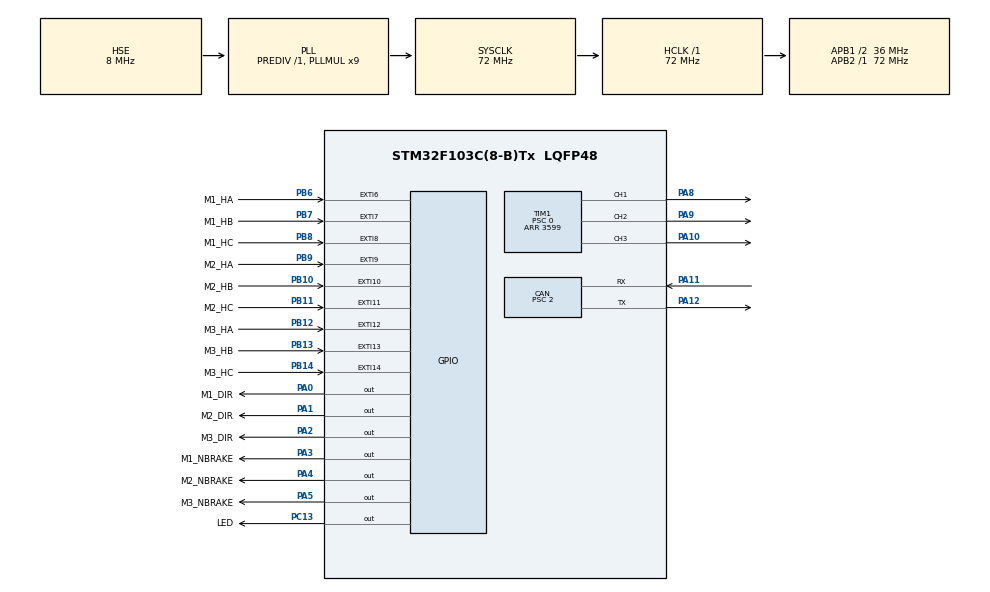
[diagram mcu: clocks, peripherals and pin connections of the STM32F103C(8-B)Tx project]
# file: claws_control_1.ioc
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CAN.ABOM=ENABLE
CAN.BS1=CAN_BS1_15TQ
CAN.BS2=CAN_BS2_2TQ
CAN.CalculateBaudRate=1000000
CAN.CalculateTimeBit=1000
CAN.CalculateTimeQuantum=55.55555555555556
CAN.NART=ENABLE
CAN.Prescaler=2
CAN.RFLM=ENABLE
CAN.TXFP=ENABLE
IWDG.Prescaler=IWDG_PRESCALER_64
IWDG.Reload=624
Mcu.Family=STM32F1
Mcu.Name=STM32F103C(8-B)Tx
Mcu.Package=LQFP48
NVIC.CAN1_SCE_IRQn=true\:1\:0\:false\:false\:true\:true\:false\:true
NVIC.EXTI15_10_IRQn=true\:2\:0\:false\:false\:true\:true\:false\:true
NVIC.EXTI9_5_IRQn=true\:2\:0\:false\:false\:true\:true\:false\:true
NVIC.PriorityGroup=NVIC_PRIORITYGROUP_4
NVIC.USB_LP_CAN1_RX0_IRQn=true\:1\:0\:false\:false\:true\:true\:false\:true
PA0-WKUP.GPIO_Label=M1_DIR
PA0-WKUP.PinState=GPIO_PIN_RESET
PA0-WKUP.Signal=GPIO_Output
PA1.GPIO_Label=M2_DIR
PA1.PinState=GPIO_PIN_RESET
PA1.Signal=GPIO_Output
PA10.GPIO_Speed=GPIO_SPEED_FREQ_HIGH
PA10.Signal=S_TIM1_CH3
PA11.Mode=CAN_Activate
PA11.Signal=CAN_RX
PA12.Mode=CAN_Activate
PA12.Signal=CAN_TX
PA13.Mode=Serial_Wire
PA13.Signal=SYS_JTMS-SWDIO
PA14.Mode=Serial_Wire
PA14.Signal=SYS_JTCK-SWCLK
PA2.GPIO_Label=M3_DIR
PA2.PinState=GPIO_PIN_RESET
PA2.Signal=GPIO_Output
PA3.GPIO_Label=M1_NBRAKE
PA3.PinState=GPIO_PIN_SET
PA3.Signal=GPIO_Output
PA4.GPIO_Label=M2_NBRAKE
PA4.PinState=GPIO_PIN_SET
PA4.Signal=GPIO_Output
PA5.GPIO_Label=M3_NBRAKE
PA5.PinState=GPIO_PIN_SET
PA5.Signal=GPIO_Output
PA8.GPIO_Speed=GPIO_SPEED_FREQ_HIGH
PA8.Signal=S_TIM1_CH1
PA9.GPIO_Speed=GPIO_SPEED_FREQ_HIGH
PA9.Signal=S_TIM1_CH2
PB10.GPIO_Label=M2_HB
PB10.GPIO_ModeDefaultEXTI=GPIO_MODE_IT_RISING_FALLING
PB10.GPIO_PuPd=GPIO_NOPULL
PB10.Signal=GPXTI10
PB11.GPIO_Label=M2_HC
PB11.GPIO_ModeDefaultEXTI=GPIO_MODE_IT_RISING_FALLING
PB11.GPIO_PuPd=GPIO_NOPULL
PB11.Signal=GPXTI11
PB12.GPIO_Label=M3_HA
PB12.GPIO_ModeDefaultEXTI=GPIO_MODE_IT_RISING_FALLING
PB12.GPIO_PuPd=GPIO_NOPULL
PB12.Signal=GPXTI12
PB13.GPIO_Label=M3_HB
PB13.GPIO_ModeDefaultEXTI=GPIO_MODE_IT_RISING_FALLING
PB13.GPIO_PuPd=GPIO_NOPULL
PB13.Signal=GPXTI13
PB14.GPIO_Label=M3_HC
PB14.GPIO_ModeDefaultEXTI=GPIO_MODE_IT_RISING_FALLING
PB14.GPIO_PuPd=GPIO_NOPULL
PB14.Signal=GPXTI14
PB6.GPIO_Label=M1_HA
PB6.GPIO_ModeDefaultEXTI=GPIO_MODE_IT_RISING_FALLING
PB6.GPIO_PuPd=GPIO_NOPULL
PB6.Signal=GPXTI6
PB7.GPIO_Label=M1_HB
PB7.GPIO_ModeDefaultEXTI=GPIO_MODE_IT_RISING_FALLING
PB7.GPIO_PuPd=GPIO_NOPULL
PB7.Signal=GPXTI7
PB8.GPIO_Label=M1_HC
PB8.GPIO_ModeDefaultEXTI=GPIO_MODE_IT_RISING_FALLING
PB8.GPIO_PuPd=GPIO_NOPULL
PB8.Signal=GPXTI8
PB9.GPIO_Label=M2_HA
PB9.GPIO_ModeDefaultEXTI=GPIO_MODE_IT_RISING_FALLING
PB9.GPIO_PuPd=GPIO_NOPULL
PB9.Signal=GPXTI9
PC13-TAMPER-RTC.GPIO_Label=LED
PC13-TAMPER-RTC.PinState=GPIO_PIN_SET
PC13-TAMPER-RTC.Signal=GPIO_Output
PD0-OSC_IN.Mode=HSE-External-Oscillator
PD0-OSC_IN.Signal=RCC_OSC_IN
PD1-OSC_OUT.Mode=HSE-External-Oscillator
PD1-OSC_OUT.Signal=RCC_OSC_OUT
ProjectManager.HeapSize=0x200
ProjectManager.StackSize=0x800
ProjectManager.TargetToolchain=MDK-ARM V5.32
RCC.AHBFreq_Value=72000000
RCC.APB1CLKDivider=RCC_HCLK_DIV2
RCC.APB1Freq_Value=36000000
RCC.APB1TimFreq_Value=72000000
RCC.APB2Freq_Value=72000000
RCC.APB2TimFreq_Value=72000000
RCC.HCLKFreq_Value=72000000
RCC.HSE_VALUE=8000000
RCC.PLLMUL=RCC_PLL_MUL9
RCC.PLLSourceVirtual=RCC_PLLSOURCE_HSE
RCC.SYSCLKFreq_VALUE=72000000
RCC.SYSCLKSource=RCC_SYSCLKSOURCE_PLLCLK
RCC.USBFreq_Value=72000000
SH.S_TIM1_CH1.0=TIM1_CH1,PWM Generation1 CH1
SH.S_TIM1_CH2.0=TIM1_CH2,PWM Generation2 CH2
SH.S_TIM1_CH3.0=TIM1_CH3,PWM Generation3 CH3
TIM1.AutoReloadPreload=TIM_AUTORELOAD_PRELOAD_ENABLE
TIM1.Channel-PWM\ Generation1\ CH1=TIM_CHANNEL_1
TIM1.Channel-PWM\ Generation2\ CH2=TIM_CHANNEL_2
TIM1.Channel-PWM\ Generation3\ CH3=TIM_CHANNEL_3
TIM1.OCIdleState_1=TIM_OCIDLESTATE_SET
TIM1.OCIdleState_2=TIM_OCIDLESTATE_SET
TIM1.OCIdleState_3=TIM_OCIDLESTATE_SET
TIM1.OCPolarity_1=TIM_OCPOLARITY_LOW
TIM1.OCPolarity_2=TIM_OCPOLARITY_LOW
TIM1.OCPolarity_3=TIM_OCPOLARITY_LOW
TIM1.OffStateIDLEMode=TIM_OSSI_ENABLE
TIM1.OffStateRunMode=TIM_OSSR_ENABLE
TIM1.Period=3599
TIM1.Prescaler=0
TIM1.Pulse-PWM\ Generation1\ CH1=0
TIM1.Pulse-PWM\ Generation2\ CH2=0
TIM1.Pulse-PWM\ Generation3\ CH3=0
VP_IWDG_VS_IWDG.Mode=IWDG_Activate
board=custom

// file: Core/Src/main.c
/* USER CODE BEGIN Header */
/**
  ******************************************************************************
  * @file           : main.c
  * @brief          : Main program body
  ******************************************************************************
  * @attention
  *
  * Copyright (c) 2026 STMicroelectronics.
  * All rights reserved.
  *
  * This software is licensed under terms that can be found in the LICENSE file
  * in the root directory of this software component.
  * If no LICENSE file comes with this software, it is provided AS-IS.
  *
  ******************************************************************************
  */
/* USER CODE END Header */
#include "main.h"
#include "can.h"
#include "iwdg.h"
#include "tim.h"
#include "gpio.h"

/* USER CODE BEGIN Includes */
#include "board.h"
#include "claw_can_config.h"
#include "claw_control.h"
/* USER CODE END Includes */

/* USER CODE BEGIN PV */
static uint32_t led_at, position_at, status_at, diagnostic_at;
/* USER CODE END PV */

void SystemClock_Config(void);

int main(void)
{

  /* USER CODE BEGIN 1 */
  Board_EarlySafe();
  /* USER CODE END 1 */

  /* MCU Configuration--------------------------------------------------------*/

  /* Reset of all peripherals, Initializes the Flash interface and the Systick. */
  HAL_Init();

  /* Configure the system clock */
  SystemClock_Config();

  /* USER CODE BEGIN SysInit */
  HAL_RCC_EnableCSS();
  /* USER CODE END SysInit */

  /* Initialize all configured peripherals */
  MX_GPIO_Init();
  MX_CAN_Init();
  MX_TIM1_Init();
  MX_IWDG_Init();
  /* USER CODE BEGIN 2 */
  ClawControl_Init();
  ClawCanConfig_Init();
  Board_Init();
  led_at = position_at = status_at = diagnostic_at = HAL_GetTick();
  /* USER CODE END 2 */

  /* Infinite loop */
  while (1)
  {

    /* USER CODE BEGIN 3 */

        if (Board_TakeFaults()) ClawControl_TransportFault();
        can_frame_t frame;
        uint8_t data[8];
        for (unsigned budget=0; budget<8u && Board_CAN_Pop(&frame); ++budget) {
            if (Board_TakeFaults()) { ClawControl_TransportFault(); break; }
            ClawCommand command;
            if (frame.id != CLAW_CAN_ID_COMMAND || frame.extended || frame.remote ||
                frame.dlc != 8 || HAL_GetTick() - frame.timestamp > APP_MAX_RX_AGE_MS ||
                !ClawProtocol_DecodeCommand(frame.data, &command)) continue;
            (void)ClawControl_HandleCommand(&command);
            if (command.opcode == CLAW_COMMAND_PARAM_SET || command.opcode == CLAW_COMMAND_PARAM_GET) {
                ClawControl_BuildParameterFrame(&command, data);
                (void)Board_Send(CLAW_CAN_ID_PARAMETER, data);
            }
            if (command.opcode != CLAW_COMMAND_HEARTBEAT) {
                ClawControl_BuildStatusFrame(data);
                (void)Board_Send(CLAW_CAN_ID_STATUS, data);
            }
        }
        ClawControl_Task();
        uint32_t now = HAL_GetTick();
        if (ClawControl_ConsumeNewFault()) {
            ClawControl_BuildStatusFrame(data); (void)Board_Send(CLAW_CAN_ID_FAULT, data);
        }
        if (now - position_at >= CLAW_POSITION_FEEDBACK_PERIOD_MS) {
            position_at = now;
            ClawControl_BuildPositionFrame(data); (void)Board_Send(CLAW_CAN_ID_POSITION, data);
        }
        if (now - status_at >= CLAW_STATUS_FEEDBACK_PERIOD_MS) {
            status_at = now;
            ClawControl_BuildStatusFrame(data); (void)Board_Send(CLAW_CAN_ID_STATUS, data);
        }
        if (now - diagnostic_at >= CLAW_DIAGNOSTIC_FEEDBACK_PERIOD_MS) {
            diagnostic_at = now;
            ClawControl_BuildDiagnosticFrame(data); (void)Board_Send(CLAW_CAN_ID_DIAGNOSTIC, data);
        }
        Board_CAN_Service();
        Board_FeedWatchdog();
        ClawStatus status; ClawControl_GetStatus(&status);
        if (now - led_at >= (status.fault_mask ? 100u : 500u)) {
            led_at = now; HAL_GPIO_TogglePin(LED_GPIO_Port, LED_Pin);
        }

  }
  /* USER CODE END 3 */
}

void SystemClock_Config(void)
{
  RCC_OscInitTypeDef RCC_OscInitStruct = {0};
  RCC_ClkInitTypeDef RCC_ClkInitStruct = {0};

  /** Initializes the RCC Oscillators according to the specified parameters
  * in the RCC_OscInitTypeDef structure.
  */
  RCC_OscInitStruct.OscillatorType = RCC_OSCILLATORTYPE_LSI|RCC_OSCILLATORTYPE_HSE;
  RCC_OscInitStruct.HSEState = RCC_HSE_ON;
  RCC_OscInitStruct.HSEPredivValue = RCC_HSE_PREDIV_DIV1;
  RCC_OscInitStruct.HSIState = RCC_HSI_ON;
  RCC_OscInitStruct.LSIState = RCC_LSI_ON;
  RCC_OscInitStruct.PLL.PLLState = RCC_PLL_ON;
  RCC_OscInitStruct.PLL.PLLSource = RCC_PLLSOURCE_HSE;
  RCC_OscInitStruct.PLL.PLLMUL = RCC_PLL_MUL9;
  if (HAL_RCC_OscConfig(&RCC_OscInitStruct) != HAL_OK)
  {
    Error_Handler();
  }

  /** Initializes the CPU, AHB and APB buses clocks
  */
  RCC_ClkInitStruct.ClockType = RCC_CLOCKTYPE_HCLK|RCC_CLOCKTYPE_SYSCLK
                              |RCC_CLOCKTYPE_PCLK1|RCC_CLOCKTYPE_PCLK2;
  RCC_ClkInitStruct.SYSCLKSource = RCC_SYSCLKSOURCE_PLLCLK;
  RCC_ClkInitStruct.AHBCLKDivider = RCC_SYSCLK_DIV1;
  RCC_ClkInitStruct.APB1CLKDivider = RCC_HCLK_DIV2;
  RCC_ClkInitStruct.APB2CLKDivider = RCC_HCLK_DIV1;

  if (HAL_RCC_ClockConfig(&RCC_ClkInitStruct, FLASH_LATENCY_2) != HAL_OK)
  {
    Error_Handler();
  }
}

void Error_Handler(void)
{
  /* USER CODE BEGIN Error_Handler_Debug */
  Board_Panic();
  /* USER CODE END Error_Handler_Debug */
}
